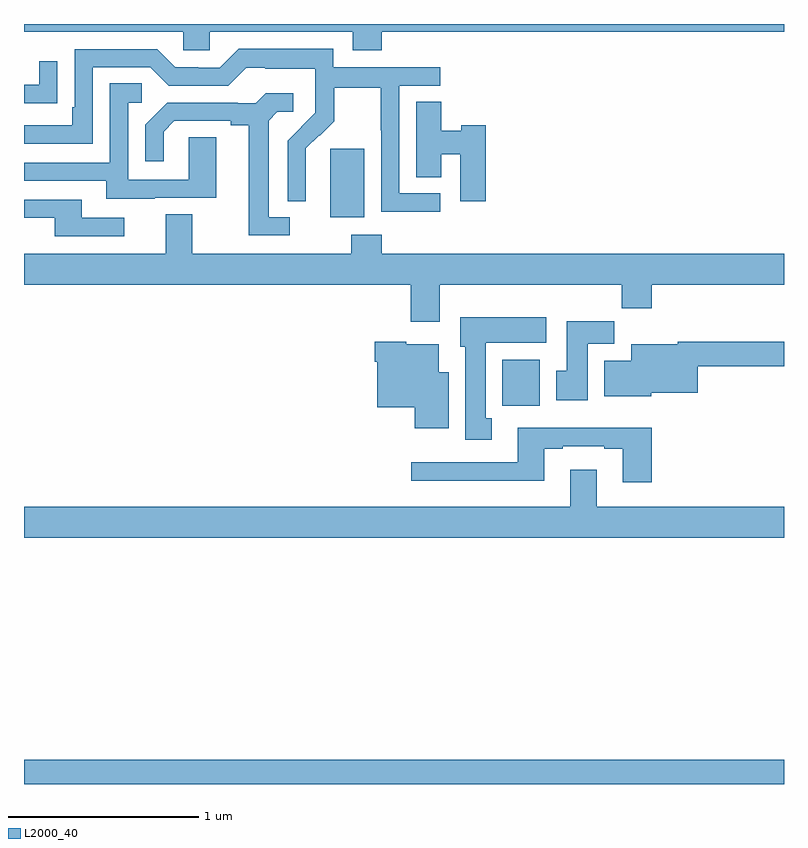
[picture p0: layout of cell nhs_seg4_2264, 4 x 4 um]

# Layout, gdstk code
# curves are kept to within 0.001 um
import gdstk
lib = gdstk.Library(unit=1e-6, precision=1e-09)
def R(c, l, rs):  # rectangles x0, y0, x1, y1
    for r in rs: c.add(gdstk.rectangle(r[:2], r[2:], *l))
def P(c, l, *ps):  # polygons
    for p in ps: c.add(gdstk.Polygon(p, *l))
L2000_40 = (2000, 40)

nhs_seg4_2264 = lib.new_cell('nhs_seg4_2264')
R(nhs_seg4_2264, L2000_40, [(229,752.9,233,753.028), (231.518,754.892,231.715,755.134), (230.612,755.882,230.791,756.243)])
P(nhs_seg4_2264, L2000_40, [(230.882,756.86),(233,756.86),(233,756.9),(229,756.9),(229,756.86),(229.839,756.86),(229.839,756.762),(229.977,756.762),(229.977,756.86),(230.729,756.86),(230.729,756.761),(230.882,756.761)],
  [(231.19,756.009),(230.976,756.009),(230.976,756.576),(231.19,756.576),(231.19,756.672),(230.628,756.672),(230.628,756.769),(230.131,756.769),(230.031,756.669),(229.916,756.669),(229.916,756.672),(229.797,756.672),(229.701,756.768),(229.266,756.768),(229.266,756.463),(229.253,756.463),(229.253,756.366),(229,756.366),(229,756.27),(229.362,756.27),(229.362,756.672),(229.665,756.672),(229.761,756.576),(230.076,756.576),(230.169,756.669),(230.269,756.669),(230.269,756.665),(230.532,756.665),(230.532,756.531),(230.534,756.531),(230.534,756.434),(230.388,756.286),(230.388,755.968),(230.484,755.968),(230.483,756.245),(230.553,756.315),(230.556,756.312),(230.633,756.389),(230.633,756.564),(230.878,756.564),(230.878,756.34),(230.88,756.34),(230.88,755.911),(231.19,755.911)],
  [(229.073,756.484),(229.175,756.484),(229.175,756.703),(229.079,756.703),(229.079,756.579),(229,756.579),(229,756.483),(229.073,756.483)],
  [(229.687,755.985),(230.011,755.985),(230.011,756.305),(229.866,756.305),(229.866,756.081),(229.548,756.081),(229.548,756.486),(229.621,756.486),(229.621,756.587),(229.452,756.587),(229.452,756.171),(229,756.171),(229,756.075),(229.433,756.075),(229.433,755.981),(229.687,755.981)],
  [(230.398,755.883),(230.287,755.883),(230.287,756.391),(230.334,756.438),(230.416,756.438),(230.416,756.535),(230.272,756.535),(230.22,756.483),(230.126,756.483),(230.126,756.486),(229.754,756.486),(229.638,756.37),(229.638,756.177),(229.735,756.177),(229.735,756.333),(229.792,756.39),(230.087,756.39),(230.087,756.368),(230.183,756.368),(230.183,755.787),(230.398,755.787)],
  [(231.431,756.368),(231.3,756.368),(231.3,756.337),(231.196,756.337),(231.196,756.491),(231.065,756.491),(231.065,756.094),(231.196,756.094),(231.196,756.215),(231.296,756.215),(231.296,755.967),(231.431,755.967)],
  [(229.528,755.88),(229.303,755.88),(229.303,755.976),(229,755.976),(229,755.88),(229.163,755.88),(229.163,755.784),(229.528,755.784)],
  [(231.187,755.528),(232.147,755.528),(232.147,755.404),(232.304,755.404),(232.304,755.528),(233,755.528),(233,755.692),(230.882,755.692),(230.882,755.791),(230.722,755.791),(230.722,755.692),(229.885,755.692),(229.885,755.9),(229.745,755.9),(229.745,755.692),(229,755.692),(229,755.528),(231.035,755.528),(231.035,755.334),(231.187,755.334)],
  [(231.463,754.826),(231.43,754.826),(231.43,755.222),(231.748,755.222),(231.748,755.356),(231.296,755.356),(231.296,755.202),(231.323,755.202),(231.323,754.713),(231.463,754.713)],
  [(231.967,755.216),(232.106,755.216),(232.106,755.335),(231.857,755.335),(231.857,755.076),(231.8,755.076),(231.8,754.92),(231.967,754.92)],
  [(231.235,755.068),(231.184,755.068),(231.184,755.215),(231.012,755.215),(231.012,755.227),(230.846,755.227),(230.846,755.123),(230.858,755.123),(230.858,754.883),(231.056,754.883),(231.056,754.772),(231.235,754.772)],
  [(232.302,754.958),(232.546,754.958),(232.546,755.098),(233,755.098),(233,755.227),(232.442,755.227),(232.442,755.215),(232.196,755.215),(232.196,755.128),(232.055,755.128),(232.055,754.94),(232.302,754.94)],
  [(232.304,754.774),(231.599,754.774),(231.599,754.593),(231.039,754.593),(231.039,754.496),(231.739,754.496),(231.739,754.665),(231.835,754.665),(231.835,754.677),(232.055,754.677),(232.055,754.665),(232.151,754.665),(232.151,754.488),(232.304,754.488)],
  [(233,754.36),(232.015,754.36),(232.015,754.555),(231.875,754.555),(231.875,754.36),(229,754.36),(229,754.196),(233,754.196)])

lib.write_gds('nhs_seg4_2264.gds')
